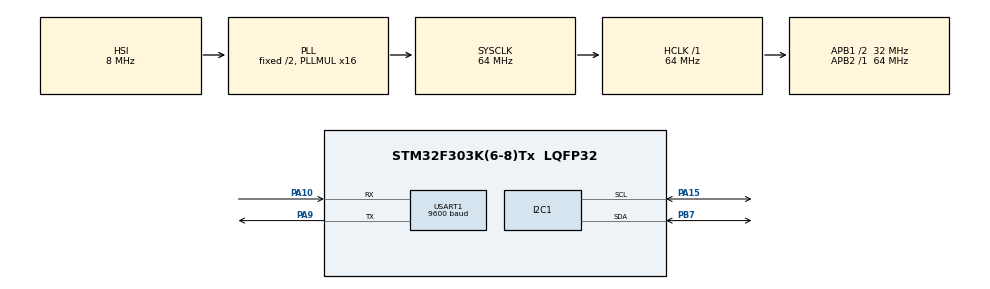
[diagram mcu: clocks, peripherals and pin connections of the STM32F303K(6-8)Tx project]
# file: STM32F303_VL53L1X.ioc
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Mcu.Family=STM32F3
Mcu.Name=STM32F303K(6-8)Tx
Mcu.Package=LQFP32
NVIC.PriorityGroup=NVIC_PRIORITYGROUP_4
PA10.Mode=Asynchronous
PA10.Signal=USART1_RX
PA15.Mode=I2C
PA15.Signal=I2C1_SCL
PA9.Mode=Asynchronous
PA9.Signal=USART1_TX
PB7.Mode=I2C
PB7.Signal=I2C1_SDA
ProjectManager.HeapSize=0x200
ProjectManager.StackSize=0x400
ProjectManager.TargetToolchain=STM32CubeIDE
RCC.AHBFreq_Value=64000000
RCC.APB1CLKDivider=RCC_HCLK_DIV2
RCC.APB1Freq_Value=32000000
RCC.APB1TimFreq_Value=64000000
RCC.APB2Freq_Value=64000000
RCC.APB2TimFreq_Value=64000000
RCC.CortexFreq_Value=64000000
RCC.HCLKFreq_Value=64000000
RCC.HSE_VALUE=8000000
RCC.HSI_VALUE=8000000
RCC.PLLMUL=RCC_PLL_MUL16
RCC.SYSCLKFreq_VALUE=64000000
RCC.SYSCLKSourceVirtual=RCC_SYSCLKSOURCE_PLLCLK
USART1.BaudRate=9600
USART1.VirtualMode-Asynchronous=VM_ASYNC
board=custom

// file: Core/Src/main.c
/* USER CODE BEGIN Header */
/**
  ******************************************************************************
  * @file           : main.c
  * @brief          : Main program body
  ******************************************************************************
  * @attention
  *
  * <h2><center>&copy; Copyright (c) 2021 STMicroelectronics.
  * All rights reserved.</center></h2>
  *
  * This software component is licensed by ST under BSD 3-Clause license,
  * the "License"; You may not use this file except in compliance with the
  * License. You may obtain a copy of the License at:
  *                        opensource.org/licenses/BSD-3-Clause
  *
  ******************************************************************************
  */
/* USER CODE END Header */
#include "main.h"

/* USER CODE BEGIN Includes */
#include "vl53l1_api.h"
#include <stdio.h>
/* USER CODE END Includes */

I2C_HandleTypeDef hi2c1;

UART_HandleTypeDef huart1;

void SystemClock_Config(void);
static void MX_GPIO_Init(void);
static void MX_I2C1_Init(void);
static void MX_USART1_UART_Init(void);

int main(void)
{
  /* USER CODE BEGIN 1 */
  setbuf(stdout, NULL);
  VL53L1_RangingMeasurementData_t RangingData;
  VL53L1_Dev_t  vl53l1_c; // center module
  VL53L1_DEV    Dev = &vl53l1_c;
  VL53L1_UserRoi_t roi;
  int x = 0;
  int y = 0;
  const int w_roi = 4;
  const int h_roi = 4;
  const int step_x = 4;
  const int step_y = 4;
  /* USER CODE END 1 */

  /* MCU Configuration--------------------------------------------------------*/

  /* Reset of all peripherals, Initializes the Flash interface and the Systick. */
  HAL_Init();

  /* Configure the system clock */
  SystemClock_Config();

  /* Initialize all configured peripherals */
  MX_GPIO_Init();
  MX_I2C1_Init();
  MX_USART1_UART_Init();
  /* USER CODE BEGIN 2 */
  Dev->I2cHandle = &hi2c1;
  Dev->I2cDevAddr = 0x52;

  VL53L1_Error status = VL53L1_WaitDeviceBooted( Dev );
  if (status != VL53L1_ERROR_NONE) {
	  printf("Status :0x%X\r\n", status);
	  while (1) {};
  }
  status = VL53L1_DataInit( Dev );
  if (status != VL53L1_ERROR_NONE) {
	  printf("Status :0x%X\r\n", status);
	  while (1) {};
  }
  status = VL53L1_StaticInit( Dev );
  if (status != VL53L1_ERROR_NONE) {
	  printf("Status :0x%X\r\n", status);
	  while (1) {};
  }
  status = VL53L1_SetDistanceMode( Dev, VL53L1_DISTANCEMODE_LONG );
  if (status != VL53L1_ERROR_NONE) {
	  printf("Status :0x%X\r\n", status);
	  while (1) {};
  }
  status = VL53L1_SetMeasurementTimingBudgetMicroSeconds( Dev, 20000 ); // 速くしすぎるといけないようだ
  if (status != VL53L1_ERROR_NONE) {
	  printf("Status :0x%X\r\n", status);
	  while (1) {};
  }
  status = VL53L1_SetInterMeasurementPeriodMilliSeconds( Dev, 50 ); // 速くしすぎるといけないようだ
  if (status != VL53L1_ERROR_NONE) {
	  printf("Status :0x%X\r\n", status);
	  while (1) {};
  }
  int y1 = 16 - h_roi - y;
  roi.TopLeftX = x;   /*!< Top Left x coordinate:  0-15 range */
  roi.TopLeftY = y1 + h_roi - 1;   /*!< Top Left y coordinate:  0-15 range */
  roi.BotRightX = x + w_roi - 1;  /*!< Bot Right x coordinate: 0-15 range */
  roi.BotRightY = y1;  /*!< Bot Right y coordinate: 0-15 range */
  VL53L1_SetUserROI(Dev, &roi);
  status = VL53L1_StartMeasurement( Dev );
  if (status != VL53L1_ERROR_NONE) {
	  printf("Status :0x%X\r\n", status);
	  while (1) {};
  }
  /* USER CODE END 2 */

  /* Infinite loop */
  while (1)
  {

    /* USER CODE BEGIN 3 */
    status = VL53L1_WaitMeasurementDataReady( Dev );
    if (status != VL53L1_ERROR_NONE) {
    	printf("Status :0x%X\r\n", status);
    	while (1) {};
    }
    status = VL53L1_GetRangingMeasurementData( Dev, &RangingData );
    if (status != VL53L1_ERROR_NONE) {
    	printf("Status :0x%X\r\n", status);
    	while (1) {};
    }
    int r = RangingData.RangeMilliMeter;
    if (r < 4001) {
    	printf("%4d,",RangingData.RangeMilliMeter);
    } else {
    	printf("    .");
    }
    if (x >= 17 - w_roi - step_x) {
    	printf("\n\r");
    	if (y >= 17 - h_roi - step_y) {
    		printf("\n\r");
    		printf("\n\r");
    	}
    }
    x += step_x;
    if (x >= 17 - w_roi) {
    	x = 0;
    	y += step_y;;
    	if (y >= 17 - h_roi) {
    		y = 0;
    	}
    }
    y1 = 16 - h_roi - y;
    roi.TopLeftX = x;   /*!< Top Left x coordinate:  0-15 range */
    roi.TopLeftY = y1 + h_roi - 1;   /*!< Top Left y coordinate:  0-15 range */
    roi.BotRightX = x + w_roi - 1;  /*!< Bot Right x coordinate: 0-15 range */
    roi.BotRightY = y1;  /*!< Bot Right y coordinate: 0-15 range */
    VL53L1_SetUserROI(Dev, &roi);
    status = VL53L1_ClearInterruptAndStartMeasurement( Dev );
    if (status != VL53L1_ERROR_NONE) {
    	printf("Status :0x%X\r\n", status);
    	while (1) {};
    }
  }
  /* USER CODE END 3 */
}

void SystemClock_Config(void)
{
  RCC_OscInitTypeDef RCC_OscInitStruct = {0};
  RCC_ClkInitTypeDef RCC_ClkInitStruct = {0};
  RCC_PeriphCLKInitTypeDef PeriphClkInit = {0};

  /** Initializes the RCC Oscillators according to the specified parameters
  * in the RCC_OscInitTypeDef structure.
  */
  RCC_OscInitStruct.OscillatorType = RCC_OSCILLATORTYPE_HSI;
  RCC_OscInitStruct.HSIState = RCC_HSI_ON;
  RCC_OscInitStruct.HSICalibrationValue = RCC_HSICALIBRATION_DEFAULT;
  RCC_OscInitStruct.PLL.PLLState = RCC_PLL_ON;
  RCC_OscInitStruct.PLL.PLLSource = RCC_PLLSOURCE_HSI;
  RCC_OscInitStruct.PLL.PLLMUL = RCC_PLL_MUL16;
  if (HAL_RCC_OscConfig(&RCC_OscInitStruct) != HAL_OK)
  {
    Error_Handler();
  }
  /** Initializes the CPU, AHB and APB buses clocks
  */
  RCC_ClkInitStruct.ClockType = RCC_CLOCKTYPE_HCLK|RCC_CLOCKTYPE_SYSCLK
                              |RCC_CLOCKTYPE_PCLK1|RCC_CLOCKTYPE_PCLK2;
  RCC_ClkInitStruct.SYSCLKSource = RCC_SYSCLKSOURCE_PLLCLK;
  RCC_ClkInitStruct.AHBCLKDivider = RCC_SYSCLK_DIV1;
  RCC_ClkInitStruct.APB1CLKDivider = RCC_HCLK_DIV2;
  RCC_ClkInitStruct.APB2CLKDivider = RCC_HCLK_DIV1;

  if (HAL_RCC_ClockConfig(&RCC_ClkInitStruct, FLASH_LATENCY_2) != HAL_OK)
  {
    Error_Handler();
  }
  PeriphClkInit.PeriphClockSelection = RCC_PERIPHCLK_USART1|RCC_PERIPHCLK_I2C1;
  PeriphClkInit.Usart1ClockSelection = RCC_USART1CLKSOURCE_PCLK1;
  PeriphClkInit.I2c1ClockSelection = RCC_I2C1CLKSOURCE_HSI;
  if (HAL_RCCEx_PeriphCLKConfig(&PeriphClkInit) != HAL_OK)
  {
    Error_Handler();
  }
}

static void MX_I2C1_Init(void)
{

  hi2c1.Instance = I2C1;
  hi2c1.Init.Timing = 0x2000090E;
  hi2c1.Init.OwnAddress1 = 0;
  hi2c1.Init.AddressingMode = I2C_ADDRESSINGMODE_7BIT;
  hi2c1.Init.DualAddressMode = I2C_DUALADDRESS_DISABLE;
  hi2c1.Init.OwnAddress2 = 0;
  hi2c1.Init.OwnAddress2Masks = I2C_OA2_NOMASK;
  hi2c1.Init.GeneralCallMode = I2C_GENERALCALL_DISABLE;
  hi2c1.Init.NoStretchMode = I2C_NOSTRETCH_DISABLE;
  if (HAL_I2C_Init(&hi2c1) != HAL_OK)
  {
    Error_Handler();
  }
  /** Configure Analogue filter
  */
  if (HAL_I2CEx_ConfigAnalogFilter(&hi2c1, I2C_ANALOGFILTER_ENABLE) != HAL_OK)
  {
    Error_Handler();
  }
  /** Configure Digital filter
  */
  if (HAL_I2CEx_ConfigDigitalFilter(&hi2c1, 0) != HAL_OK)
  {
    Error_Handler();
  }

}

static void MX_USART1_UART_Init(void)
{

  huart1.Instance = USART1;
  huart1.Init.BaudRate = 9600;
  huart1.Init.WordLength = UART_WORDLENGTH_8B;
  huart1.Init.StopBits = UART_STOPBITS_1;
  huart1.Init.Parity = UART_PARITY_NONE;
  huart1.Init.Mode = UART_MODE_TX_RX;
  huart1.Init.HwFlowCtl = UART_HWCONTROL_NONE;
  huart1.Init.OverSampling = UART_OVERSAMPLING_16;
  huart1.Init.OneBitSampling = UART_ONE_BIT_SAMPLE_DISABLE;
  huart1.AdvancedInit.AdvFeatureInit = UART_ADVFEATURE_NO_INIT;
  if (HAL_UART_Init(&huart1) != HAL_OK)
  {
    Error_Handler();
  }

}

static void MX_GPIO_Init(void)
{

  /* GPIO Ports Clock Enable */
  __HAL_RCC_GPIOA_CLK_ENABLE();
  __HAL_RCC_GPIOB_CLK_ENABLE();

}

/* USER CODE BEGIN 4 */
int _write(int file, char *ptr, int len)
{
  HAL_UART_Transmit(&huart1,(uint8_t *)ptr,len,10);
  return len;
}
/* USER CODE END 4 */

void Error_Handler(void)
{
  __disable_irq();
  while (1)
  {
  }
}

/************************ (C) COPYRIGHT STMicroelectronics *****END OF FILE****/
